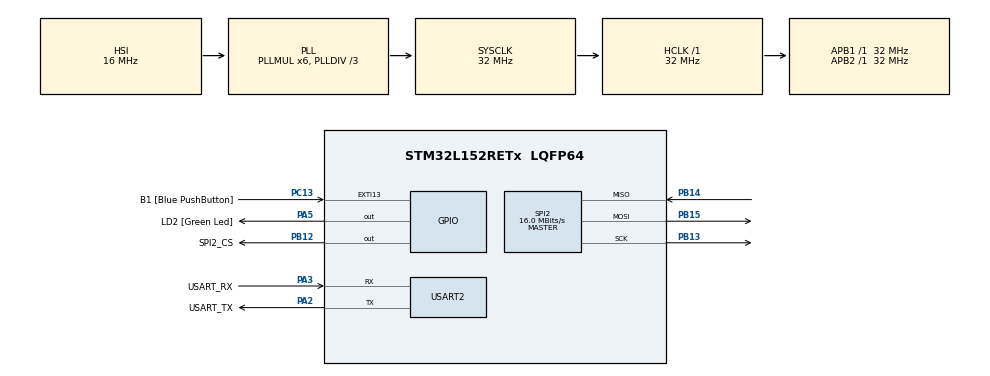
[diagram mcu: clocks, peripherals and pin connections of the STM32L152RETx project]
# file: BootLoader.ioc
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Mcu.Family=STM32L1
Mcu.Name=STM32L152RETx
Mcu.Package=LQFP64
NVIC.PriorityGroup=NVIC_PRIORITYGROUP_0
PA13.GPIO_Label=TMS
PA13.Mode=Serial_Wire
PA13.Signal=SYS_JTMS-SWDIO
PA14.GPIO_Label=TCK
PA14.Mode=Serial_Wire
PA14.Signal=SYS_JTCK-SWCLK
PA2.GPIO_Label=USART_TX
PA2.Mode=Asynchronous
PA2.Signal=USART2_TX
PA3.GPIO_Label=USART_RX
PA3.Mode=Asynchronous
PA3.Signal=USART2_RX
PA5.GPIO_Label=LD2 [Green Led]
PA5.Signal=GPIO_Output
PB12.GPIO_Label=SPI2_CS
PB12.Signal=GPIO_Output
PB13.Mode=Full_Duplex_Master
PB13.Signal=SPI2_SCK
PB14.Mode=Full_Duplex_Master
PB14.Signal=SPI2_MISO
PB15.Mode=Full_Duplex_Master
PB15.Signal=SPI2_MOSI
PB3.GPIO_Label=SWO
PB3.Signal=SYS_JTDO-TRACESWO
PC13-WKUP2.GPIO_Label=B1 [Blue PushButton]
PC13-WKUP2.Signal=GPXTI13
PC14-OSC32_IN.Mode=LSE-External-Oscillator
PC14-OSC32_IN.Signal=RCC_OSC32_IN
PC15-OSC32_OUT.Mode=LSE-External-Oscillator
PC15-OSC32_OUT.Signal=RCC_OSC32_OUT
PH0-OSC_IN.Mode=HSE-External-Clock-Source
PH0-OSC_IN.Signal=RCC_OSC_IN
PH1-OSC_OUT.Signal=RCC_OSC_OUT
ProjectManager.HeapSize=0x200
ProjectManager.StackSize=0x400
ProjectManager.TargetToolchain=STM32CubeIDE
RCC.48MHZClocksFreq_Value=48000000
RCC.AHBFreq_Value=32000000
RCC.APB1Freq_Value=32000000
RCC.APB1TimFreq_Value=32000000
RCC.APB2Freq_Value=32000000
RCC.APB2TimFreq_Value=32000000
RCC.HCLKFreq_Value=32000000
RCC.HSE_VALUE=8000000
RCC.HSI_VALUE=16000000
RCC.MSI_VALUE=2097000
RCC.PLLDIV=RCC_PLL_DIV3
RCC.PLLMUL=RCC_PLL_MUL6
RCC.RTCClockSelectionVirtual=RCC_RTCCLKSOURCE_LSE
RCC.SYSCLKFreq_VALUE=32000000
RCC.SYSCLKSource=RCC_SYSCLKSOURCE_PLLCLK
RCC.USBOutput=48000000
RCC.VCOOutputFreq_Value=96000000
SPI2.CalculateBaudRate=16.0 MBits/s
SPI2.Direction=SPI_DIRECTION_2LINES
SPI2.Mode=SPI_MODE_MASTER
SPI2.VirtualType=VM_MASTER
USART2.VirtualMode=VM_ASYNC
board=NUCLEO-L152RE

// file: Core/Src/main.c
/* USER CODE BEGIN Header */
/**
  ******************************************************************************
  * @file           : main.c
  * @brief          : Main program body
  ******************************************************************************
  * @attention
  *
  * <h2><center>&copy; Copyright (c) 2021 STMicroelectronics.
  * All rights reserved.</center></h2>
  *
  * This software component is licensed by ST under BSD 3-Clause license,
  * the "License"; You may not use this file except in compliance with the
  * License. You may obtain a copy of the License at:
  *                        opensource.org/licenses/BSD-3-Clause
  *
  ******************************************************************************
  */
/* USER CODE END Header */
#include "main.h"
#include "spi.h"
#include "usart.h"
#include "gpio.h"

/* USER CODE BEGIN Includes */
#include "App/app_openbootloader.h"
#include "SharedMem/shared_mem.h"

/* USER CODE END Includes */

/* USER CODE BEGIN PTD */
typedef void (*pFunction)(void);
/* USER CODE END PTD */

/* USER CODE BEGIN PD */
#define FLASH_APP_ADDR 0x800C000
/* USER CODE END PD */

void SystemClock_Config(void);
/* USER CODE BEGIN PFP */
void go2APP(void);
/* USER CODE END PFP */

/* USER CODE BEGIN 0 */
void go2APP(void)
{
    uint32_t JumpAddress;
    pFunction Jump_To_Application;
    //printf("BOOTLOADER Start \r\n");

    // check MSP Value
    if((( *(__IO uint32_t *)FLASH_APP_ADDR) & 0x2FFE0000) == 0x20000000)
    {
        //printf("APP Start.....\r\n");
        //HAL_Delay(100);

        // Jump to Application
        JumpAddress = *(__IO uint32_t *)(FLASH_APP_ADDR + 4);
        Jump_To_Application = (pFunction)JumpAddress;

        // Initialize user application's Stack Pointer
        __set_MSP(*(__IO uint32_t*)FLASH_APP_ADDR );
        Jump_To_Application();
    }
    else
    {
        //printf("No APP found!!!\r\n");
    }
}
/* USER CODE END 0 */

int main(void)
{

  /* MCU Configuration--------------------------------------------------------*/

  /* Reset of all peripherals, Initializes the Flash interface and the Systick. */
  HAL_Init();

  /* Configure the system clock */
  SystemClock_Config();

  /* Initialize all configured peripherals */
  MX_GPIO_Init();
  MX_USART2_UART_Init();
  MX_SPI2_Init();
  /* USER CODE BEGIN 2 */
  OpenBootloader_Init();
  for (int i = 0; i < 10; i++)
  {
    if(OpenBootloader_ProtocolDetection() > 0)
    {
      break;
    }
    HAL_Delay(100);
  }

  sharedmem_init();
  /* USER CODE END 2 */

  /* Infinite loop */
  /* USER CODE BEGIN WHILE */
  while (1)
  {
	if(OpenBootloader_ProtocolDetection() == 0) {
		go2APP();
	}
    /* USER CODE END WHILE */

  }
}

void SystemClock_Config(void)
{
  RCC_OscInitTypeDef RCC_OscInitStruct = {0};
  RCC_ClkInitTypeDef RCC_ClkInitStruct = {0};

  /** Configure the main internal regulator output voltage
  */
  __HAL_PWR_VOLTAGESCALING_CONFIG(PWR_REGULATOR_VOLTAGE_SCALE1);
  /** Initializes the RCC Oscillators according to the specified parameters
  * in the RCC_OscInitTypeDef structure.
  */
  RCC_OscInitStruct.OscillatorType = RCC_OSCILLATORTYPE_HSI;
  RCC_OscInitStruct.HSIState = RCC_HSI_ON;
  RCC_OscInitStruct.HSICalibrationValue = RCC_HSICALIBRATION_DEFAULT;
  RCC_OscInitStruct.PLL.PLLState = RCC_PLL_ON;
  RCC_OscInitStruct.PLL.PLLSource = RCC_PLLSOURCE_HSI;
  RCC_OscInitStruct.PLL.PLLMUL = RCC_PLL_MUL6;
  RCC_OscInitStruct.PLL.PLLDIV = RCC_PLL_DIV3;
  if (HAL_RCC_OscConfig(&RCC_OscInitStruct) != HAL_OK)
  {
    Error_Handler();
  }
  /** Initializes the CPU, AHB and APB buses clocks
  */
  RCC_ClkInitStruct.ClockType = RCC_CLOCKTYPE_HCLK|RCC_CLOCKTYPE_SYSCLK
                              |RCC_CLOCKTYPE_PCLK1|RCC_CLOCKTYPE_PCLK2;
  RCC_ClkInitStruct.SYSCLKSource = RCC_SYSCLKSOURCE_PLLCLK;
  RCC_ClkInitStruct.AHBCLKDivider = RCC_SYSCLK_DIV1;
  RCC_ClkInitStruct.APB1CLKDivider = RCC_HCLK_DIV1;
  RCC_ClkInitStruct.APB2CLKDivider = RCC_HCLK_DIV1;

  if (HAL_RCC_ClockConfig(&RCC_ClkInitStruct, FLASH_LATENCY_1) != HAL_OK)
  {
    Error_Handler();
  }
}

void Error_Handler(void)
{
  __disable_irq();
  while (1)
  {
  }
}

/************************ (C) COPYRIGHT STMicroelectronics *****END OF FILE****/
